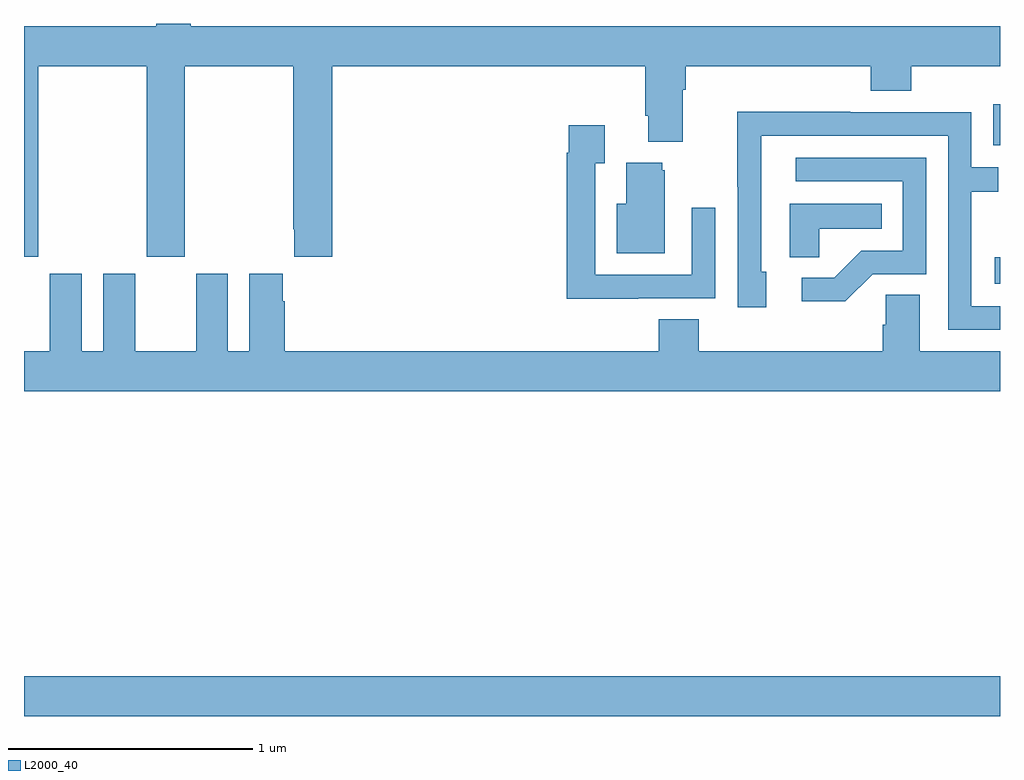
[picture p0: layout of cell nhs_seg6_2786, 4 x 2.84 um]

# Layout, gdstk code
import gdstk
lib = gdstk.Library(unit=1e-6, precision=1e-09)
def R(c, l, rs):  # rectangles x0, y0, x1, y1
    for r in rs: c.add(gdstk.rectangle(r[:2], r[2:], *l))
def P(c, l, *ps):  # polygons
    for p in ps: c.add(gdstk.Polygon(p, *l))
L2000_40 = (2000, 40)

nhs_seg6_2786 = lib.new_cell('nhs_seg6_2786')
R(nhs_seg6_2786, L2000_40, [(275,956.66,279,956.824), (278.979,958.433,279,958.543), (278.973,959.001,279,959.17)])
P(nhs_seg6_2786, L2000_40, [(275.058,959.324),(275.503,959.324),(275.503,958.545),(275.658,958.545),(275.658,959.324),(276.103,959.324),(276.103,958.657),(276.107,958.657),(276.107,958.545),(276.263,958.545),(276.263,959.324),(277.547,959.324),(277.547,959.122),(277.559,959.122),(277.559,959.015),(277.699,959.015),(277.699,959.228),(277.712,959.228),(277.712,959.324),(278.471,959.324),(278.471,959.225),(278.636,959.225),(278.636,959.324),(279,959.324),(279,959.488),(275.683,959.488),(275.683,959.5),(275.543,959.5),(275.543,959.488),(275,959.488),(275,958.545),(275.058,958.545)],
  [(279,958.341),(278.883,958.341),(278.883,958.81),(278.993,958.81),(278.993,958.911),(278.883,958.911),(278.883,959.136),(278.387,959.136),(278.387,959.138),(277.924,959.138),(277.924,958.831),(277.926,958.831),(277.926,958.338),(278.041,958.338),(278.041,958.482),(278.022,958.482),(278.022,959.04),(278.787,959.04),(278.787,958.245),(279,958.245)],
  [(277.517,958.374),(277.833,958.374),(277.833,958.744),(277.737,958.744),(277.737,958.47),(277.341,958.47),(277.341,958.927),(277.381,958.927),(277.381,959.083),(277.233,959.083),(277.233,958.97),(277.225,958.97),(277.225,958.373),(277.517,958.373)],
  [(278.478,958.473),(278.697,958.473),(278.697,958.95),(278.163,958.95),(278.163,958.854),(278.601,958.854),(278.601,958.569),(278.432,958.569),(278.321,958.458),(278.187,958.458),(278.187,958.361),(278.365,958.361)],
  [(277.627,958.899),(277.616,958.899),(277.616,958.93),(277.469,958.93),(277.469,958.762),(277.43,958.762),(277.43,958.559),(277.627,958.559)],
  [(278.259,958.658),(278.516,958.658),(278.516,958.762),(278.138,958.762),(278.138,958.543),(278.259,958.543)],
  [(279,958.156),(278.671,958.156),(278.671,958.388),(278.532,958.388),(278.532,958.265),(278.519,958.265),(278.519,958.156),(277.766,958.156),(277.766,958.289),(277.601,958.289),(277.601,958.156),(276.068,958.156),(276.068,958.361),(276.061,958.361),(276.061,958.474),(275.924,958.474),(275.924,958.156),(275.836,958.156),(275.836,958.474),(275.705,958.474),(275.705,958.156),(275.455,958.156),(275.455,958.474),(275.324,958.474),(275.324,958.156),(275.236,958.156),(275.236,958.474),(275.105,958.474),(275.105,958.156),(275,958.156),(275,957.992),(279,957.992)])

lib.write_gds('nhs_seg6_2786.gds')
